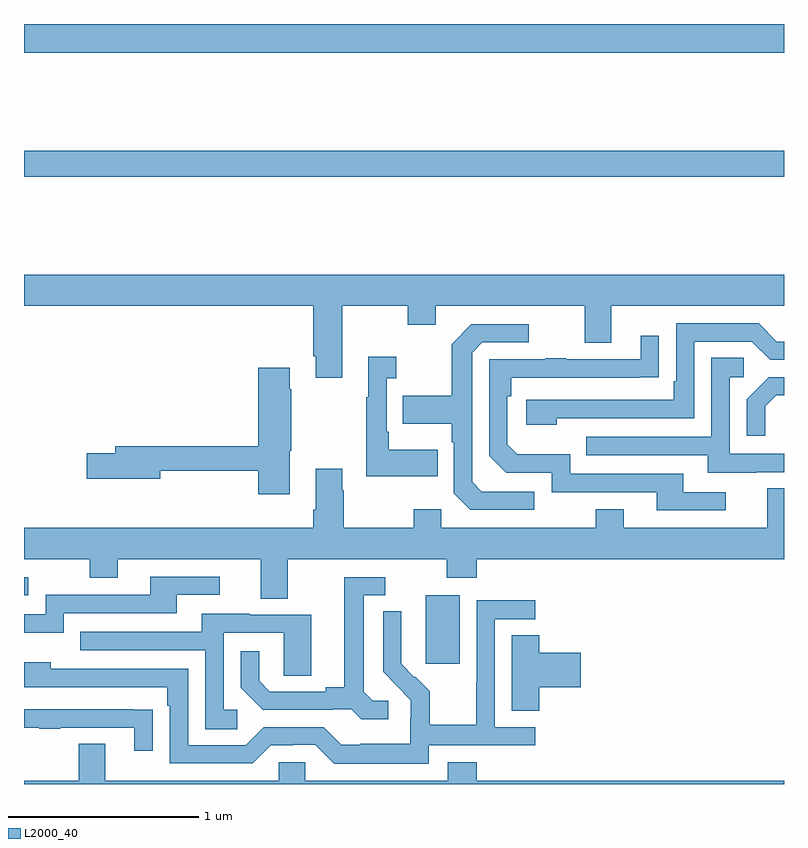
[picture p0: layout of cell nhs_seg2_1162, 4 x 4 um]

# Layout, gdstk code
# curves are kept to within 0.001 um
import gdstk
lib = gdstk.Library(unit=1e-6, precision=1e-09)
def R(c, l, rs):  # rectangles x0, y0, x1, y1
    for r in rs: c.add(gdstk.rectangle(r[:2], r[2:], *l))
def P(c, l, *ps):  # polygons
    for p in ps: c.add(gdstk.Polygon(p, *l))
L2000_40 = (2000, 40)

nhs_seg2_1162 = lib.new_cell('nhs_seg2_1162')
R(nhs_seg2_1162, L2000_40, [(173.114,632.433,173.293,632.794), (171,632.793,171.022,632.889), (171,634.996,175,635.132), (171,635.648,175,635.8)])
P(nhs_seg2_1162, L2000_40, [(172.675,634.316),(173.02,634.316),(173.02,634.217),(173.167,634.217),(173.167,634.316),(173.951,634.316),(173.951,634.122),(174.091,634.122),(174.091,634.316),(175,634.316),(175,634.48),(171,634.48),(171,634.316),(172.523,634.316),(172.523,634.051),(172.535,634.051),(172.535,633.939),(172.675,633.939)],
  [(173.804,633.726),(174.528,633.726),(174.528,634.128),(174.831,634.128),(174.927,634.032),(175,634.032),(175,634.128),(174.963,634.128),(174.867,634.224),(174.432,634.224),(174.432,633.919),(174.419,633.919),(174.419,633.822),(173.643,633.822),(173.643,633.692),(173.804,633.692)],
  [(173.686,633.339),(173.409,633.339),(173.358,633.39),(173.358,634.071),(173.412,634.125),(173.656,634.125),(173.656,634.221),(173.355,634.221),(173.25,634.115),(173.25,633.843),(172.993,633.843),(172.993,633.695),(173.25,633.695),(173.25,633.599),(173.262,633.599),(173.262,633.33),(173.349,633.243),(173.686,633.243)],
  [(174.694,633.336),(174.469,633.336),(174.469,633.432),(173.874,633.432),(173.874,633.535),(173.597,633.535),(173.544,633.588),(173.544,633.842),(173.564,633.842),(173.564,633.939),(174.341,633.94),(174.341,634.159),(174.245,634.159),(174.245,634.035),(173.855,634.035),(173.855,634.04),(173.743,634.04),(173.743,634.035),(173.448,634.035),(173.448,633.528),(173.538,633.438),(173.778,633.438),(173.778,633.336),(174.329,633.336),(174.329,633.24),(174.694,633.24)],
  [(173.177,633.559),(172.921,633.559),(172.921,633.655),(172.908,633.655),(172.908,633.935),(172.96,633.935),(172.96,634.048),(172.811,634.048),(172.811,633.835),(172.8,633.835),(172.8,633.419),(173.177,633.419)],
  [(174.853,633.441),(175,633.441),(175,633.537),(174.714,633.537),(174.714,633.942),(174.787,633.942),(174.787,634.043),(174.618,634.043),(174.618,633.627),(173.959,633.627),(173.959,633.531),(174.599,633.531),(174.599,633.437),(174.853,633.437)],
  [(172.399,633.555),(172.407,633.555),(172.407,633.878),(172.399,633.878),(172.399,633.991),(172.232,633.991),(172.232,633.578),(171.479,633.578),(171.479,633.542),(171.33,633.542),(171.33,633.407),(171.718,633.407),(171.718,633.45),(172.232,633.45),(172.232,633.324),(172.399,633.324)],
  [(174.901,633.789),(174.958,633.846),(175,633.846),(175,633.942),(174.92,633.942),(174.804,633.826),(174.804,633.633),(174.901,633.633)],
  [(172.387,632.984),(173.224,632.984),(173.224,632.885),(173.384,632.885),(173.384,632.984),(175,632.984),(175,633.356),(174.911,633.356),(174.911,633.148),(174.157,633.148),(174.157,633.247),(174.01,633.247),(174.01,633.148),(173.196,633.148),(173.196,633.247),(173.05,633.247),(173.05,633.148),(172.683,633.148),(172.683,633.347),(172.675,633.347),(172.675,633.46),(172.535,633.46),(172.535,633.244),(172.523,633.244),(172.523,633.148),(171,633.148),(171,632.984),(171.346,632.984),(171.346,632.885),(171.493,632.885),(171.493,632.984),(172.247,632.984),(172.247,632.776),(172.387,632.776)],
  [(171.21,632.7),(171.805,632.7),(171.805,632.796),(172.03,632.796),(172.03,632.892),(171.665,632.892),(171.665,632.796),(171.114,632.796),(171.114,632.694),(171,632.694),(171,632.597),(171.21,632.597)],
  [(172.918,632.238),(172.836,632.238),(172.789,632.285),(172.789,632.793),(172.9,632.793),(172.9,632.889),(172.685,632.889),(172.685,632.309),(172.589,632.309),(172.589,632.286),(172.294,632.286),(172.237,632.343),(172.237,632.5),(172.14,632.5),(172.14,632.306),(172.256,632.19),(172.628,632.19),(172.628,632.193),(172.722,632.193),(172.774,632.141),(172.918,632.141)],
  [(173.13,632.004),(173.692,632.004),(173.692,632.1),(173.478,632.1),(173.478,632.667),(173.692,632.667),(173.692,632.766),(173.382,632.766),(173.382,632.336),(173.38,632.336),(173.38,632.113),(173.135,632.113),(173.135,632.287),(173.058,632.364),(173.055,632.361),(172.985,632.432),(172.986,632.708),(172.89,632.708),(172.89,632.39),(173.036,632.242),(173.036,632.145),(173.034,632.145),(173.034,632.011),(172.771,632.011),(172.771,632.007),(172.671,632.007),(172.578,632.1),(172.263,632.1),(172.167,632.004),(171.864,632.004),(171.864,632.406),(171.14,632.406),(171.14,632.44),(171,632.44),(171,632.31),(171.755,632.31),(171.755,632.213),(171.768,632.213),(171.768,631.908),(172.203,631.908),(172.299,632.004),(172.418,632.004),(172.418,632.007),(172.533,632.007),(172.633,631.907),(173.13,631.907)],
  [(172.123,632.19),(172.05,632.19),(172.05,632.595),(172.368,632.595),(172.368,632.371),(172.513,632.371),(172.513,632.691),(172.189,632.691),(172.189,632.695),(171.935,632.695),(171.935,632.601),(171.295,632.601),(171.295,632.505),(171.954,632.505),(171.954,632.089),(172.123,632.089)],
  [(173.711,632.309),(173.929,632.309),(173.929,632.492),(173.711,632.492),(173.711,632.582),(173.567,632.582),(173.567,632.185),(173.711,632.185)],
  [(171.677,632.192),(171.575,632.192),(171.575,632.193),(171,632.193),(171,632.097),(171.079,632.097),(171.079,632.092),(171.191,632.092),(171.191,632.097),(171.581,632.097),(171.581,631.974),(171.677,631.974)],
  [(175,631.816),(173.384,631.816),(173.384,631.915),(173.231,631.915),(173.231,631.816),(172.479,631.816),(172.479,631.914),(172.341,631.914),(172.341,631.816),(171.427,631.816),(171.427,632.011),(171.287,632.011),(171.287,631.816),(171,631.816),(171,631.8),(175,631.8)])

lib.write_gds('nhs_seg2_1162.gds')
